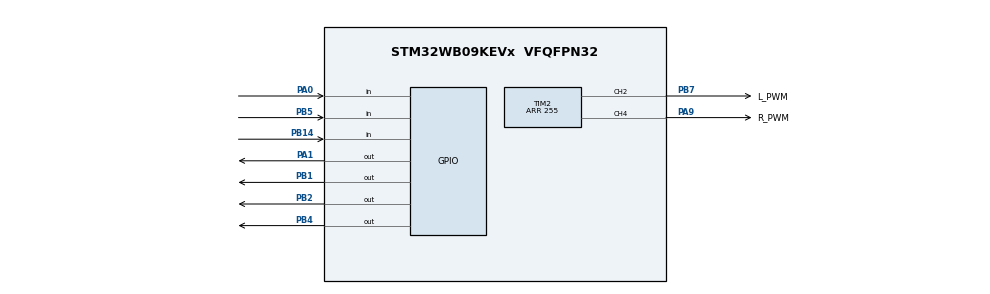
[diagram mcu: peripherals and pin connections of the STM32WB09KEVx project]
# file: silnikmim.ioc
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Mcu.Family=STM32WB0
Mcu.Name=STM32WB09KEVx
Mcu.Package=VFQFPN32
NUCLEO-WB09KE.BUTTON=1
NUCLEO-WB09KE.BUTTON2=1
NUCLEO-WB09KE.BUTTON3=1
NUCLEO-WB09KE.LD1=true
NUCLEO-WB09KE.LD2=true
NUCLEO-WB09KE.LD3=true
NUCLEO-WB09KE.VCP=true
NVIC.GPIOA_IRQn=true\:0\:0\:false\:false\:true\:true\:true\:true
NVIC.GPIOB_IRQn=true\:0\:0\:false\:false\:true\:true\:true\:true
PA0.GPIO_PuPd=GPIO_PULLUP
PA0.Signal=GPIO_Input
PA1.Signal=GPIO_Output
PA2.Mode=Serial_Wire
PA2.Signal=DEBUG_SWDIO
PA3.Mode=Serial_Wire
PA3.Signal=DEBUG_SWCLK
PA9.GPIO_Label=R_PWM
PA9.Signal=S_TIM2_CH4
PB0.Signal=USART1_RX
PB1.Signal=GPIO_Output
PB14.GPIO_PuPd=GPIO_PULLUP
PB14.Signal=GPIO_Input
PB2.Signal=GPIO_Output
PB4.Signal=GPIO_Output
PB5.GPIO_PuPd=GPIO_PULLUP
PB5.Signal=GPIO_Input
PB7.GPIO_Label=L_PWM
PB7.Signal=S_TIM2_CH2
ProjectManager.HeapSize=0x000
ProjectManager.StackSize=0xC00
ProjectManager.TargetToolchain=STM32CubeIDE
RCC.HSE_VALUE=32000000
RCC.HSI_VALUE=64000000
RCC.LSE_Timout=100
RCC.LSE_VALUE=32768
SH.S_TIM2_CH2.0=TIM2_CH2,PWM Generation2 CH2
SH.S_TIM2_CH4.0=TIM2_CH4,PWM Generation4 CH4
TIM2.Channel-PWM\ Generation2\ CH2=TIM_CHANNEL_2
TIM2.Channel-PWM\ Generation4\ CH4=TIM_CHANNEL_4
TIM2.Period=255
TIM2.Pulse-PWM\ Generation2\ CH2=0
TIM2.Pulse-PWM\ Generation4\ CH4=0
VP_MEMORYMAP_VS_MEMORYMAP.Mode=CurAppReg
VP_NUCLEO-WB09KE_VS_BSP_COMMON.Mode=COMMON
VP_PWR_VS_SECSignals.Mode=Security/Privilege
VP_TIM2_VS_ClockSourceINT.Mode=Internal
board=NUCLEO-WB09KE

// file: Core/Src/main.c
/* USER CODE BEGIN Header */
/**
  ******************************************************************************
  * @file           : main.c
  * @brief          : Main program body
  ******************************************************************************
  * @attention
  *
  * Copyright (c) 2025 STMicroelectronics.
  * All rights reserved.
  *
  * This software is licensed under terms that can be found in the LICENSE file
  * in the root directory of this software component.
  * If no LICENSE file comes with this software, it is provided AS-IS.
  *
  ******************************************************************************
  */
/* USER CODE END Header */
#include "main.h"

COM_InitTypeDef BspCOMInit;

TIM_HandleTypeDef htim2;

void SystemClock_Config(void);
void PeriphCommonClock_Config(void);
static void MX_GPIO_Init(void);
static void MX_TIM2_Init(void);

int main(void)
{

  /* MCU Configuration--------------------------------------------------------*/

  /* Reset of all peripherals, Initializes the Flash interface and the Systick. */
  HAL_Init();

  /* Configure the system clock */
  SystemClock_Config();

  /* Configure the peripherals common clocks */
  PeriphCommonClock_Config();

  /* Initialize all configured peripherals */
  MX_GPIO_Init();
  MX_TIM2_Init();

  /* Initialize leds */
  BSP_LED_Init(LED_BLUE);
  BSP_LED_Init(LED_GREEN);
  BSP_LED_Init(LED_RED);

  /* Initialize USER push-button, will be used to trigger an interrupt each time it's pressed.*/
  BSP_PB_Init(B1, BUTTON_MODE_EXTI);
  BSP_PB_Init(B2, BUTTON_MODE_EXTI);
  BSP_PB_Init(B3, BUTTON_MODE_EXTI);

  /* Initialize COM1 port (115200, 8 bits (7-bit data + 1 stop bit), no parity */
  BspCOMInit.BaudRate   = 115200;
  BspCOMInit.WordLength = COM_WORDLENGTH_8B;
  BspCOMInit.StopBits   = COM_STOPBITS_1;
  BspCOMInit.Parity     = COM_PARITY_NONE;
  BspCOMInit.HwFlowCtl  = COM_HWCONTROL_NONE;
  if (BSP_COM_Init(COM1, &BspCOMInit) != BSP_ERROR_NONE)
  {
    Error_Handler();
  }

  /* Infinite loop */
  /* USER CODE BEGIN WHILE */

  //ZMIENNE POMOCNICZE
  uint8_t pulse_value = 0; 		//DO KONTROLOWANIA WARTOŚCI PULSU PWM ( zakres 0 do 255 )
  uint8_t bool_motor_on = 0;	//DO OKREŚLANIA STANU ZASILANIA SILNIKA (0 WYŁĄCZONY, 1 WŁĄCZONY)
  uint8_t bool_direction = 0;	//DO OKREŚLENIA KIERUNKU PRACY SILNIKA (0 L_PWM, 1 R_PWM)

  HAL_TIM_PWM_Start(&htim2, TIM_CHANNEL_2);	// Funkcja timera 2 powodująca uruchomienie pulsu PWM na kanale 2
  // TIM2CH4 PRZYPISANY JEST DO L_PWM
  HAL_TIM_PWM_Start(&htim2, TIM_CHANNEL_4); // Funkcja timera 2 powodująca uruchomienie pulsu PWM na kanale 4
  // TIM2CH4 PRZYPISANY JEST DO R_PWM
  __HAL_RCC_GPIOB_CLK_ENABLE(); // WŁĄCZENIE ZEGARA GPIOB - SŁUŻY DO KONTROLI GPIO

  while (1)
  {
    /* USER CODE END WHILE */

    /* USER CODE BEGIN 3 */
	if(!HAL_GPIO_ReadPin(GPIOA, GPIO_PIN_0)){ // ODCZYT STANU NA PRZYCISKU BUTTON 1 - KONTROLA WARTOŚCI PWM PODAWANEJ NA STEROWNIK SILNIKA

		HAL_Delay(500); // BUTTON DEBOUNCE

		if( pulse_value < 255 ) pulse_value += 17; // ZWIĘKSZENIE WARTOŚCI PULSU PWM, KAŻDA ZMIANA TO 1/15 MAKSYMALNEGO ZAKRESU (0-255)
		else continue;	// DLA PEŁNEGO ZAKRESU PULSOWANIA NIE JEST WYMAGANA ŻADNA DODATKOWA CZYNNOŚĆ

		for( int i = 0 ; i < pulse_value / 17 ; i++ ){ // PĘTLA SŁUŻĄCA DO ZAŚWIECENIA NIEBIESKĄ DIODĄ LD1 ILOŚĆ RAZY ODPOWIADAJĄCĄ POZIOMOWI WARTOŚCI PULSU PWM
			HAL_GPIO_WritePin(GPIOB, GPIO_PIN_1, 0);	 	// MIGNIĘCIE DIODĄ
			HAL_Delay(100);								// LD1 - DIODA NA PŁYTCE NUCLEO
			HAL_GPIO_WritePin(GPIOB, GPIO_PIN_1, 1);	// KOLOR DIODY NIEBIESKI
			HAL_Delay(100);								//
		}

		if( !bool_direction && bool_motor_on ){ // SPRAWDZENIE TRYBU SILNIKA - KIERUNEK ORAZ WŁ/WYŁ
		// SILNIK WŁĄCZONY, KIERUNEK PRACY NORMALNY
		__HAL_TIM_SET_COMPARE(&htim2,TIM_CHANNEL_2, pulse_value ); // PODAWANIE NAPIĘCIA NA L_PWM Z ODPOWIEDNIĄ WARTOŚCIĄ PULSU PWM
		} else if ( bool_direction && bool_motor_on ){
		// SILNIK WYŁĄCZONY, PRACA Z NAWROTAMI
		__HAL_TIM_SET_COMPARE(&htim2,TIM_CHANNEL_4, pulse_value ); //PODAWANIE NAPIĘCIA NA R_PWM Z ODPOWIEDNIĄ WARTOŚCIĄ PULSU PWM
		}
	}
	if(!HAL_GPIO_ReadPin(GPIOB, GPIO_PIN_5)){ // ODCZYT STANU NA PRZYCISKU BUTTON 2 - KONTORLA KIERUNKU PRACY SILNIKA

		HAL_Delay(900); // BUTTON DEBOUNCE

		if ( !bool_direction ){ // SPRAWDZENIE TRYBU PRACY SILNIKA - CZY SILNIK JEST W TRYBIE PRACY Z NAWROTAMI
			bool_direction = 1; // ZMIENNA OKREŚLAJĄCA KIERUNEK PRACY SILNIKA USTAWIONA NA 1 - PRACA NAWROTNA
			HAL_GPIO_WritePin(GPIOB, GPIO_PIN_4, 0); // ZAPALENIE LAMPKI LD2 SYGNALIZUJĄCEJ PRACĘ Z NAWROTAMI
			if( bool_motor_on ){ // STAN PRACY SILNIKA - JEŻELI WŁĄCZONY, NALEŻY ZMIENIĆ KIERUNEK PRACY
			__HAL_TIM_SET_COMPARE(&htim2,TIM_CHANNEL_2, 0 ); // WSTRZYMANIE PODAWANIA NAPIĘCIA NA L_PWM
			__HAL_TIM_SET_COMPARE(&htim2,TIM_CHANNEL_4, pulse_value ); // PODAWANIE NAPIĘCIA NA R_PWM Z ODPOWIEDNIĄ WARTOŚCIĄ PULSU PWM
			}
		} else {
			bool_direction = 0; // ZMIENNA OKREŚLAJĄCA NORMALNY TRYB PRACY SILNIK - BEZ NAWROTÓW
			HAL_GPIO_WritePin(GPIOB, GPIO_PIN_4, 1); // ZGASZENIE LAMPKI LD2 SYGNALIZUJĄCEJ PRACĘ Z NAWROTAMI
			if( bool_motor_on ){ // STAN PRACY SILNIKA - JEŻELI WŁĄCZONY, NALEŻY ZMIENIĆ KIERUNEK PRACY
			__HAL_TIM_SET_COMPARE(&htim2,TIM_CHANNEL_4, 0 ); // WSTRZYMANIE PODAWANIA NAPIĘCIA NA R_PWM
			__HAL_TIM_SET_COMPARE(&htim2,TIM_CHANNEL_2, pulse_value ); // PODAWANIE NAPIĘCIA NA L_PWM Z ODPOWIEDNIĄ WARTOŚCIĄ PULSU PWM
			}
		}
	}
	if(!HAL_GPIO_ReadPin(GPIOB, GPIO_PIN_14)){ // ODCZYT STANU NA PRZYCISKU BUTTON 3 - KONTROLA WŁ/WYŁ SILNIKA

		HAL_Delay(900); // BUTTON DEBOUNCE

		if ( !bool_motor_on ){ // SPRAWDZENIE STANU PRACY SILNIKA - CZY SILNIK JEST WŁĄCZONY
			bool_motor_on = 1; // AKTUALIZACJA ZMIENNEJ PRZECHOWUJĄCEJ INFORMACJĘ O DOPROWADZANIU NAPIĘCIU DO SILNIKA - SILNIK WŁĄCZONY
			HAL_GPIO_WritePin(GPIOB, GPIO_PIN_2, 0); // ZAPALENIE LAMPKI LD3 SYGNALIZUJĄCEJ DOPROWADZANIE NAPIĘCIA DO SILNIKA
			if ( !bool_direction ){ // SPRAWDZENIE TRYBU PRACY SILNIKA - CZY SILNIK JEST W TRYBIE PRACY Z NAWROTAMI
				__HAL_TIM_SET_COMPARE(&htim2,TIM_CHANNEL_4, 0 ); // WSTRZYMANIE PODAWANIA NAPIĘCIA NA R_PWM
				__HAL_TIM_SET_COMPARE(&htim2,TIM_CHANNEL_2, pulse_value ); // PODAWANIE NAPIĘCIA NA L_PWM Z ODPOWIEDNIĄ WARTOŚCIĄ PULSU PWM
			} else {
				__HAL_TIM_SET_COMPARE(&htim2,TIM_CHANNEL_2, 0 ); // WSTRZYMANIE PODAWANIA NAPIĘCIA NA L_PWM
				__HAL_TIM_SET_COMPARE(&htim2,TIM_CHANNEL_4, pulse_value ); // PODAWANIE NAPIĘCIA NA R_PWM Z ODPOWIEDNIĄ WARTOŚCIĄ PULSU PWM
			}
		} else { // SILNIK WYŁĄCZONY
			bool_motor_on = 0; // AKTUALIZACJA ZMIENNEJ PRZECHOWUJĄCEJ INFORMACJĘ O DOPROWADZANIU NAPIĘCIU DO SILNIKA - SILNIK WYŁĄCZONY
			HAL_GPIO_WritePin(GPIOB, GPIO_PIN_2, 1); // ZGASZENIE LAMPKI LD3 SYGNALIZUJĄCEJ DOPROWADZANIE NAPIĘCIA DO SILNIKA
			__HAL_TIM_SET_COMPARE(&htim2,TIM_CHANNEL_2, 0 ); // WSTRZYMANIE PODAWANIA NAPIĘCIA NA L_PWM
			__HAL_TIM_SET_COMPARE(&htim2,TIM_CHANNEL_4, 0 ); // WSTRZYMANIE PODAWANIA NAPIĘCIA NA R_PWM
		}
	}
  }
  /* USER CODE END 3 */
}

void SystemClock_Config(void)
{
  RCC_ClkInitTypeDef RCC_ClkInitStruct = {0};

  /** Configure the SYSCLKSource and SYSCLKDivider
  */
  RCC_ClkInitStruct.SYSCLKSource = RCC_SYSCLKSOURCE_HSI;
  RCC_ClkInitStruct.SYSCLKDivider = RCC_RC64MPLL_DIV1;

  if (HAL_RCC_ClockConfig(&RCC_ClkInitStruct, FLASH_WAIT_STATES_1) != HAL_OK)
  {
    Error_Handler();
  }
}

void PeriphCommonClock_Config(void)
{
  RCC_PeriphCLKInitTypeDef PeriphClkInitStruct = {0};

  /** Initializes the peripherals clock
  */
  PeriphClkInitStruct.PeriphClockSelection = RCC_PERIPHCLK_SMPS;
  PeriphClkInitStruct.SmpsDivSelection = RCC_SMPSCLK_DIV4;

  if (HAL_RCCEx_PeriphCLKConfig(&PeriphClkInitStruct) != HAL_OK)
  {
    Error_Handler();
  }
}

static void MX_TIM2_Init(void)
{

  TIM_ClockConfigTypeDef sClockSourceConfig = {0};
  TIM_OC_InitTypeDef sConfigOC = {0};

  htim2.Instance = TIM2;
  htim2.Init.Prescaler = 0;
  htim2.Init.CounterMode = TIM_COUNTERMODE_UP;
  htim2.Init.Period = 255;
  htim2.Init.ClockDivision = TIM_CLOCKDIVISION_DIV1;
  htim2.Init.AutoReloadPreload = TIM_AUTORELOAD_PRELOAD_DISABLE;
  if (HAL_TIM_Base_Init(&htim2) != HAL_OK)
  {
    Error_Handler();
  }
  sClockSourceConfig.ClockSource = TIM_CLOCKSOURCE_INTERNAL;
  if (HAL_TIM_ConfigClockSource(&htim2, &sClockSourceConfig) != HAL_OK)
  {
    Error_Handler();
  }
  if (HAL_TIM_PWM_Init(&htim2) != HAL_OK)
  {
    Error_Handler();
  }
  sConfigOC.OCMode = TIM_OCMODE_PWM1;
  sConfigOC.Pulse = 0;
  sConfigOC.OCPolarity = TIM_OCPOLARITY_HIGH;
  sConfigOC.OCFastMode = TIM_OCFAST_DISABLE;
  if (HAL_TIM_PWM_ConfigChannel(&htim2, &sConfigOC, TIM_CHANNEL_2) != HAL_OK)
  {
    Error_Handler();
  }
  if (HAL_TIM_PWM_ConfigChannel(&htim2, &sConfigOC, TIM_CHANNEL_4) != HAL_OK)
  {
    Error_Handler();
  }
  HAL_TIM_MspPostInit(&htim2);

}

static void MX_GPIO_Init(void)
{
  GPIO_InitTypeDef GPIO_InitStruct = {0};

  /* GPIO Ports Clock Enable */
  __HAL_RCC_GPIOB_CLK_ENABLE();
  __HAL_RCC_GPIOA_CLK_ENABLE();

  /*Configure GPIO pin Output Level */
  HAL_GPIO_WritePin(GPIOB, GPIO_PIN_2|GPIO_PIN_1|GPIO_PIN_4, GPIO_PIN_RESET);

  /*Configure GPIO pins : PB2 PB1 PB4 */
  GPIO_InitStruct.Pin = GPIO_PIN_2|GPIO_PIN_1|GPIO_PIN_4;
  GPIO_InitStruct.Mode = GPIO_MODE_OUTPUT_PP;
  GPIO_InitStruct.Pull = GPIO_NOPULL;
  GPIO_InitStruct.Speed = GPIO_SPEED_FREQ_LOW;
  HAL_GPIO_Init(GPIOB, &GPIO_InitStruct);

  /*Configure GPIO pin : PA2 */
  GPIO_InitStruct.Pin = GPIO_PIN_2;
  GPIO_InitStruct.Mode = GPIO_MODE_AF_PP;
  GPIO_InitStruct.Pull = GPIO_PULLUP;
  GPIO_InitStruct.Speed = GPIO_SPEED_FREQ_LOW;
  GPIO_InitStruct.Alternate = GPIO_AF7_SWDIO;
  HAL_GPIO_Init(GPIOA, &GPIO_InitStruct);

  /*Configure GPIO pin : PA0 */
  GPIO_InitStruct.Pin = GPIO_PIN_0;
  GPIO_InitStruct.Mode = GPIO_MODE_INPUT;
  GPIO_InitStruct.Pull = GPIO_PULLUP;
  HAL_GPIO_Init(GPIOA, &GPIO_InitStruct);

  /*Configure GPIO pins : PB14 PB5 */
  GPIO_InitStruct.Pin = GPIO_PIN_14|GPIO_PIN_5;
  GPIO_InitStruct.Mode = GPIO_MODE_INPUT;
  GPIO_InitStruct.Pull = GPIO_PULLUP;
  HAL_GPIO_Init(GPIOB, &GPIO_InitStruct);

  /**/
  HAL_PWREx_DisableGPIOPullUp(PWR_GPIO_B, PWR_GPIO_BIT_2|PWR_GPIO_BIT_1|PWR_GPIO_BIT_4);

  /**/
  HAL_PWREx_DisableGPIOPullDown(PWR_GPIO_B, PWR_GPIO_BIT_2|PWR_GPIO_BIT_1|PWR_GPIO_BIT_4);

  /**/
  HAL_PWREx_EnableGPIOPullUp(PWR_GPIO_A, PWR_GPIO_BIT_2|PWR_GPIO_BIT_0);

  /**/
  HAL_PWREx_EnableGPIOPullUp(PWR_GPIO_B, PWR_GPIO_BIT_14|PWR_GPIO_BIT_5);

}

void Error_Handler(void)
{
  /* USER CODE BEGIN Error_Handler_Debug */
  /* User can add his own implementation to report the HAL error return state */
  __disable_irq();
  while (1)
  {
	  HAL_GPIO_TogglePin(GPIOB, GPIO_PIN_7); // Toggles PB7
	  HAL_GPIO_TogglePin(GPIOB, GPIO_PIN_1); // Toggles PB7
	  HAL_Delay(500); // 500ms delay for visible blinking
  }
  /* USER CODE END Error_Handler_Debug */
}
